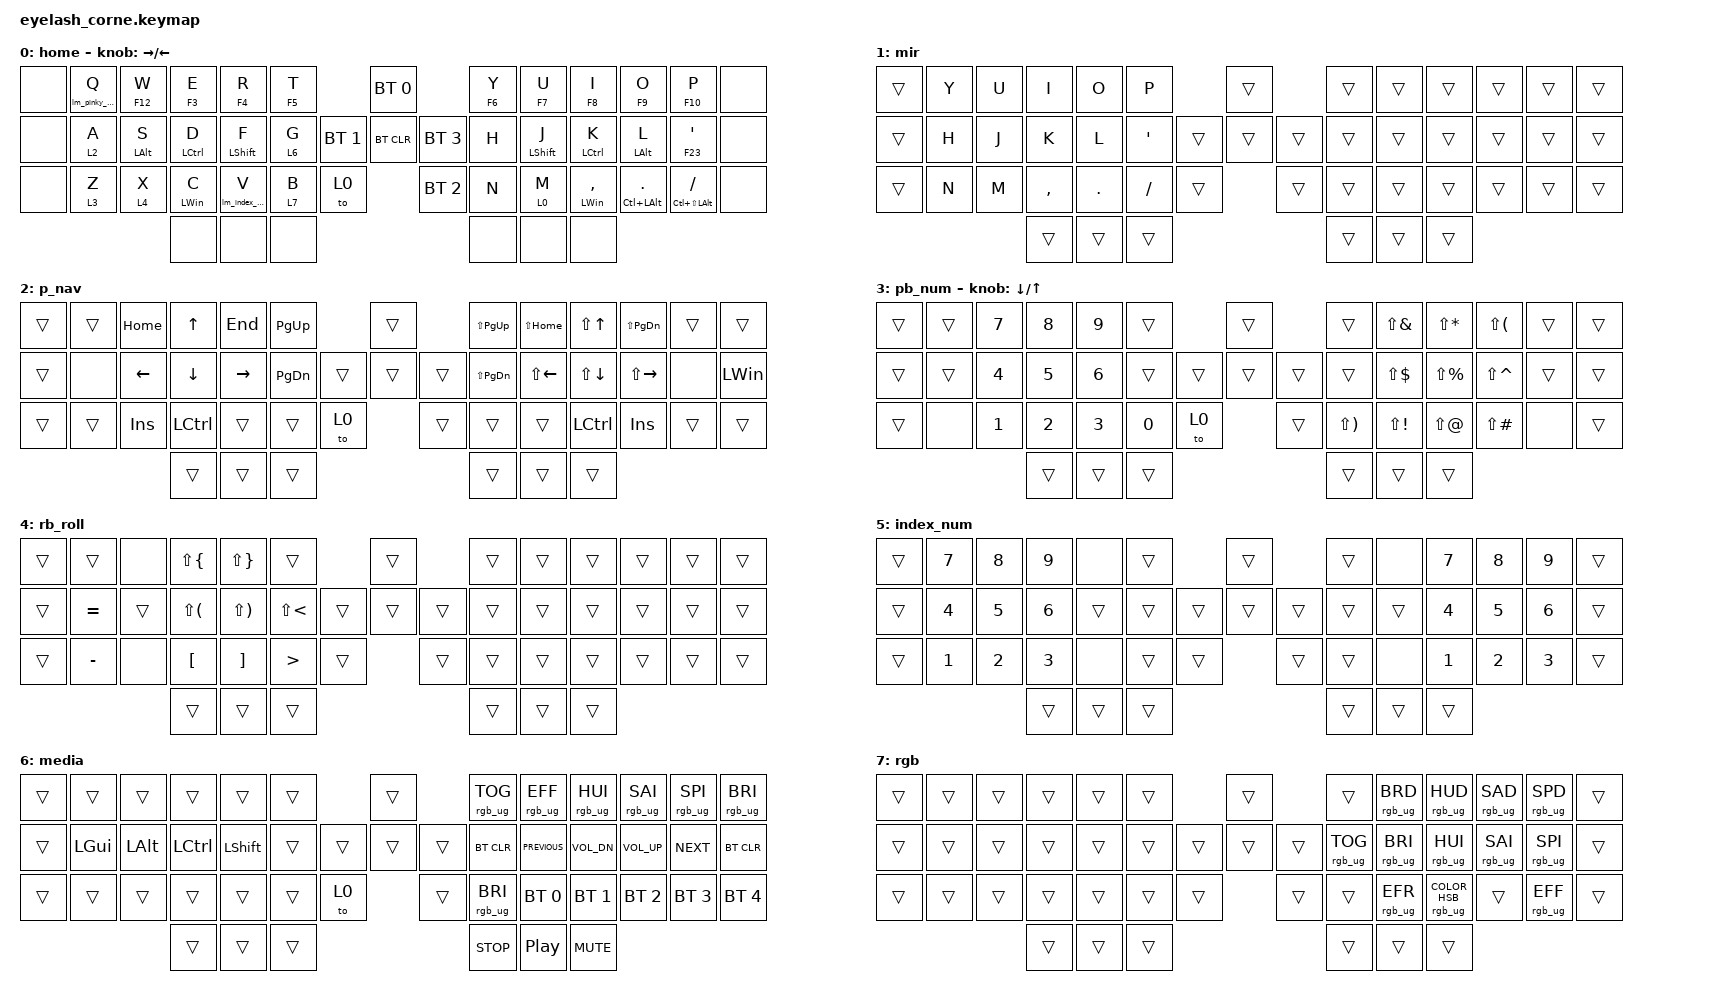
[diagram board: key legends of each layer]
#define ZMK_POINTING_DEFAULT_MOVE_VAL 1200  // 600
#define ZMK_POINTING_DEFAULT_SCRL_VAL 25   // 10

#include <input/processors.dtsi>
#include <zephyr/dt-bindings/input/input-event-codes.h>
#include <behaviors.dtsi>
#include <dt-bindings/zmk/bt.h>
#include <dt-bindings/zmk/keys.h>
#include <dt-bindings/zmk/pointing.h>
#include <dt-bindings/zmk/rgb.h>

&mmv_input_listener { input-processors = <&zip_xy_scaler 2 1>; };

&msc_input_listener { input-processors = <&zip_scroll_scaler 2 1>; };

&msc {
    acceleration-exponent = <1>;      // 0
    time-to-max-speed-ms = <100>;       // 300
    delay-ms = <0>;                   // 0
};

&mmv {
    time-to-max-speed-ms = <500>;
    acceleration-exponent = <1>;
    trigger-period-ms = <16>;
};

&lt { quick-tap-ms = <150>; };

&mt {
    flavor = "tap-preferred";
    require-prior-idle-ms = <125>;
};

&sk { lazy; };

/ {
    macros {
        // Layer 2 + LGUI 宏

        lm_pinky_nav_lgui: lm_2_lgui {
            compatible = "zmk,behavior-macro";
            wait-ms = <0>;
            tap-ms = <0>;
            #binding-cells = <0>;
            bindings =
                <&macro_press>,
                <&mo 2 &kp LGUI>,
                <&macro_pause_for_release>,
                <&macro_release>,
                <&mo 2 &kp LGUI>;
        };

        lm_index_num_lgui: lm_index_num_lgui {
            compatible = "zmk,behavior-macro";
            wait-ms = <0>;
            tap-ms = <0>;
            #binding-cells = <0>;
            bindings =
                <&macro_press>,
                <&mo 5 &kp LGUI>,
                <&macro_pause_for_release>,
                <&macro_release>,
                <&mo 5 &kp LGUI>;

            label = "LM_INDEX_NUM_LGUI";
        };
    };

    behaviors {
        lm_ht_pinky_lgui: lm_ht_pinky_lgui {
            compatible = "zmk,behavior-hold-tap";
            label = "LM_HT_PINKY_LGUI";
            #binding-cells = <2>;
            flavor = "balanced";
            tapping-term-ms = <200>;
            bindings = <&lm_pinky_nav_lgui>, <&kp>;
        };

        kt_off: key_toggle_off_only {
            compatible = "zmk,behavior-key-toggle";
            #binding-cells = <1>;
            label = "KEY_TOGGLE_OFF_ONLY";
            toggle-mode = "off";
        };

        hml: homerow_mods_left {
            compatible = "zmk,behavior-hold-tap";
            bindings = <&kp>, <&kp>;

            #binding-cells = <2>;
            tapping-term-ms = <150>;
            require-prior-idle-ms = <105>;
            flavor = "balanced";
            hold-trigger-key-positions = <23 24 25 26 7 22 36 45 46 47 37 38 39 40 41 8 9 10 11 12 23 24 25 26 27 42 43 44>;
            hold-trigger-on-release;
            quick-tap-ms = <175>;
            label = "homerow mods left from urob";
        };

        hmr: homerow_mods_right {
            compatible = "zmk,behavior-hold-tap";
            bindings = <&kp>, <&kp>;

            #binding-cells = <2>;
            tapping-term-ms = <150>;
            require-prior-idle-ms = <105>;
            flavor = "balanced";
            hold-trigger-on-release;
            quick-tap-ms = <175>;
            label = "homerow mods right from urob";
            hold-trigger-key-positions = <47 46 45 44 43 42 33 0 1 2 3 4 5 13 14 15 16 17 18 28 29 30 31 32 33 42 43 44>;
        };

        dwim: dwim {
            compatible = "zmk,behavior-leader-key";
            #binding-cells = <0>;

            f_key {
                sequence = <F>;
                bindings = <&to 7>;
            };

            number {
                sequence = <N>;
                bindings = <&to 5>;
            };

            quit {
                sequence = <Q>;
                bindings = <&to 0>;
            };

            sk_C {
                sequence = <D>;
                bindings = <&sk LCTRL>;
            };

            sk_M {
                sequence = <S>;
                bindings = <&sk LALT>;
            };

            sk_G {
                sequence = <V>;
                bindings = <&kt LWIN>;
            };

            sk_S {
                sequence = <F>;
                bindings = <&kt LSHIFT>;
            };

            kt_c {
                sequence = <T D>;
                bindings = <&kt LCTRL>;
            };

            kt_m {
                sequence = <T S>;
                bindings = <&kt LALT>;
            };

            kt_g {
                sequence = <T V>;
                bindings = <&kt LWIN>;
            };

            kt_s {
                sequence = <T F>;
                bindings = <&kt LSHIFT>;
            };
        };

        num_fkey: num_fkey {
            compatible = "zmk,behavior-hold-tap";
            label = "NUM_FKEY";
            bindings = <&kp>, <&kp>;

            #binding-cells = <2>;
            tapping-term-ms = <200>;
            flavor = "tap-preferred";
        };

        lm_ht_index_lgui: lm_ht_index_lgui {
            compatible = "zmk,behavior-hold-tap";
            label = "LM_HT_INDEX_LGUI";
            #binding-cells = <2>;
            flavor = "balanced";
            tapping-term-ms = <200>;
            bindings = <&lm_index_num_lgui>, <&kp>;
        };
    };

    rgb_encoder: rgb_encoder {
        compatible = "zmk,behavior-sensor-rotate";
        #sensor-binding-cells = <0>;
        bindings = <&rgb_ug RGB_BRI>, <&rgb_ug RGB_BRD>;
    };

    scroll_encoder: scroll_encoder {
        compatible = "zmk,behavior-sensor-rotate";
        #sensor-binding-cells = <0>;
        bindings = <&msc SCRL_DOWN>, <&msc SCRL_UP>;

        tap-ms = <30>;
    };

    combos {
        compatible = "zmk,combos";

        space {
            bindings = <&kp SPACE>;
            key-positions = <17 16>;
            require-prior-idle-ms = <30>;
        };

        tab {
            bindings = <&kp TAB>;
            key-positions = <15 16>;
            require-prior-idle-ms = <30>;
        };

        esc {
            bindings = <&kp ESCAPE>;
            key-positions = <14 15>;
            require-prior-idle-ms = <30>;
        };

        enter: enter {
            bindings = <&kp ENTER>;
            key-positions = <17 15 16>;
            require-prior-idle-ms = <30>;
        };

        bksp: bksp {
            bindings = <&kp BACKSPACE>;
            key-positions = <16 32>;
            require-prior-idle-ms = <30>;
        };

        del: del {
            bindings = <&kp DEL>;
            key-positions = <16 30>;
            require-prior-idle-ms = <30>;
        };

        key_repeat {
            bindings = <&key_repeat>;
            key-positions = <14 15 16>;
            require-prior-idle-ms = <30>;
        };

        n1_l {
            bindings = <&num_fkey F1 NUMBER_1>;
            key-positions = <31 32>;
            require-prior-idle-ms = <30>;
        };

        n2_l {
            bindings = <&num_fkey F2 NUMBER_2>;
            key-positions = <31 30>;
            require-prior-idle-ms = <30>;
        };

        n3_l {
            bindings = <&num_fkey F3 NUMBER_3>;
            key-positions = <30 29>;
            require-prior-idle-ms = <30>;
        };

        n4_l {
            bindings = <&num_fkey F4 NUMBER_4>;
            key-positions = <30 32>;
            require-prior-idle-ms = <30>;
        };

        n5_l {
            bindings = <&num_fkey F5 NUMBER_5>;
            key-positions = <29 31>;
            require-prior-idle-ms = <30>;
        };

        n6_l: n6_l {
            bindings = <&num_fkey F6 NUMBER_6>;
            key-positions = <3 2>;
            require-prior-idle-ms = <30>;
        };

        n7_l: n7_l {
            bindings = <&num_fkey F7 NUMBER_7>;
            key-positions = <2 1>;
            require-prior-idle-ms = <30>;
        };

        n8_l: n8_l {
            bindings = <&num_fkey F8 NUMBER_8>;
            key-positions = <2 4>;
            require-prior-idle-ms = <30>;
        };

        n9_l: n9_l {
            bindings = <&num_fkey F9 NUMBER_9>;
            key-positions = <1 3>;
            require-prior-idle-ms = <30>;
        };

        n0_l: n0_l {
            bindings = <&num_fkey F10 NUMBER_0>;
            key-positions = <3 4>;
            timeout-ms = <15>;
            require-prior-idle-ms = <30>;
        };

        f11 {
            bindings = <&kp F11>;
            key-positions = <4 3 2>;
            require-prior-idle-ms = <30>;
        };

        f12 {
            bindings = <&kp F12>;
            key-positions = <2 1 3>;
            require-prior-idle-ms = <30>;
        };

        colon {
            bindings = <&kp COLON>;
            key-positions = <23 24>;
            require-prior-idle-ms = <30>;
        };

        semi {
            bindings = <&kp SEMI>;
            key-positions = <25 24>;
            require-prior-idle-ms = <30>;
        };

        r1 {
            bindings = <&kp EXCLAMATION>;
            key-positions = <37 38>;
            require-prior-idle-ms = <30>;
        };

        r2 {
            bindings = <&kp AT_SIGN>;
            key-positions = <38 39>;
            require-prior-idle-ms = <30>;
        };

        r3 {
            bindings = <&kp HASH>;
            key-positions = <39 40>;
            require-prior-idle-ms = <30>;
        };

        r4 {
            bindings = <&kp DOLLAR>;
            key-positions = <37 39>;
            require-prior-idle-ms = <30>;
        };

        r5 {
            bindings = <&kp PERCENT>;
            key-positions = <40 38>;
            require-prior-idle-ms = <30>;
        };

        r6 {
            bindings = <&kp CARET>;
            key-positions = <9 10>;
            require-prior-idle-ms = <30>;
        };

        r7 {
            bindings = <&kp AMPERSAND>;
            key-positions = <10 11>;
            require-prior-idle-ms = <30>;
        };

        r8 {
            bindings = <&kp ASTERISK>;
            key-positions = <10 8>;
            timeout-ms = <15>;
            require-prior-idle-ms = <30>;
        };

        grave {
            bindings = <&kp GRAVE>;
            key-positions = <17 15>;
            require-prior-idle-ms = <30>;
        };

        quote {
            bindings = <&kp DOUBLE_QUOTES>;
            key-positions = <25 26>;
            require-prior-idle-ms = <30>;
        };

        less_than {
            bindings = <&kp LESS_THAN>;
            key-positions = <23 25>;
            require-prior-idle-ms = <30>;
        };

        greater_than {
            bindings = <&kp GREATER_THAN>;
            key-positions = <24 26>;
            require-prior-idle-ms = <30>;
        };

        pipe {
            bindings = <&kp PIPE>;
            key-positions = <23 26>;
            require-prior-idle-ms = <30>;
        };

        plus {
            bindings = <&kp PLUS>;
            key-positions = <24 37>;
            require-prior-idle-ms = <30>;
        };

        minor {
            bindings = <&kp MINUS>;
            key-positions = <24 39>;
            require-prior-idle-ms = <30>;
        };

        tilde {
            bindings = <&kp TILDE>;
            key-positions = <14 16>;
            require-prior-idle-ms = <30>;
        };

        f24 {
            bindings = <&kp F24>;
            key-positions = <14 17>;
            require-prior-idle-ms = <30>;
        };

        number {
            bindings = <&tog 3>;
            key-positions = <29 32>;
            require-prior-idle-ms = <30>;
        };

        mir {
            bindings = <&tog 1>;
            key-positions = <1 4>;
            require-prior-idle-ms = <30>;
        };

        backslash {
            bindings = <&kp BACKSLASH>;
            key-positions = <9 25>;
            require-prior-idle-ms = <30>;
        };

        equal {
            bindings = <&kp EQUAL>;
            key-positions = <25 38>;
            require-prior-idle-ms = <30>;
        };

        underscore {
            bindings = <&kp UNDERSCORE>;
            key-positions = <25 40>;
            require-prior-idle-ms = <30>;
        };

        reset {
            bindings = <&bootloader>;
            key-positions = <1 29>;
            require-prior-idle-ms = <30>;
        };

        ins {
            bindings = <&kp INSERT>;
            key-positions = <15 29>;
            require-prior-idle-ms = <30>;
        };

        kt_sft {
            bindings = <&kt LSHFT>;
            key-positions = <17 23>;
            require-prior-idle-ms = <30>;
        };

        dwim {
            bindings = <&dwim>;
            key-positions = <16 2>;
        };
    };

    keymap {
        compatible = "zmk,keymap";

        home {
            display-name = "home";
            bindings = <
&none  &lm_ht_pinky_lgui 0 Q  &hml F12 W   &hml F3 E     &hml F4 R              &hml F5 T                         &bt BT_SEL 0                &hml F6 Y  &hml F7 U     &hml F8 I        &hml F9 O              &hml F10 P                   &none
&none  &lt 2 A                &hml LALT S  &hml LCTRL D  &hml LSHFT F           &lt 6 G             &bt BT_SEL 1  &bt BT_CLR    &bt BT_SEL 3  &kp H      &hmr LSHFT J  &hmr LCTRL K     &hmr LALT L            &hmr F23 SQT                 &none
&none  &lt 3 Z                &lt 4 X      &hml LWIN C   &lm_ht_index_lgui 0 V  &lt 7 B    &to 0                  &bt BT_SEL 2                &kp N      &lt 0 M       &hmr LWIN COMMA  &hmr LC(LEFT_ALT) DOT  &hmr LC(LS(LEFT_ALT)) SLASH  &none
                                           &none         &none                  &none                                                         &none      &none         &none
            >;

            sensor-bindings = <&inc_dec_kp RIGHT LEFT>;
        };

        mir {
            bindings = <
&trans  &kp Y  &kp U  &kp I      &kp O       &kp P                        &trans          &trans  &trans  &trans  &trans  &trans  &trans
&trans  &kp H  &kp J  &kp K      &kp L       &kp SQT              &trans  &trans  &trans  &trans  &trans  &trans  &trans  &trans  &trans
&trans  &kp N  &kp M  &kp COMMA  &kp PERIOD  &kp SLASH  &trans            &trans          &trans  &trans  &trans  &trans  &trans  &trans
                      &trans     &trans      &trans                                       &trans  &trans  &trans
            >;

            label = "mir";
        };

        pinky_nav {
            bindings = <
&trans  &trans  &kp HOME  &kp UP     &kp END    &kp PG_UP                   &trans          &kp LS(PG_UP)  &kp LS(HOME)  &kp LS(UP)    &kp LS(PAGE_DOWN)  &trans  &trans
&trans  &none   &kp LEFT  &kp DOWN   &kp RIGHT  &kp PG_DN           &trans  &trans  &trans  &kp LS(PG_DN)  &kp LS(LEFT)  &kp LS(DOWN)  &kp LS(RIGHT)      &none   &kp LWIN
&trans  &trans  &kp INS   &kp LCTRL  &trans     &trans     &to 0            &trans          &trans         &trans        &kp LCTRL     &kp INS            &trans  &trans
                          &trans     &trans     &trans                                      &trans         &trans        &trans
            >;

            label = "p_nav";
        };

        pinky_num {
            bindings = <
&trans  &trans  &kp N7  &kp N8  &kp N9  &trans                   &trans          &trans        &kp LS(AMPS)  &kp LS(STAR)   &kp LS(LPAR)   &trans  &trans
&trans  &trans  &kp N4  &kp N5  &kp N6  &trans           &trans  &trans  &trans  &trans        &kp LS(DLLR)  &kp LS(PRCNT)  &kp LS(CARET)  &trans  &trans
&trans  &none   &kp N1  &kp N2  &kp N3  &kp N0  &to 0            &trans          &kp LS(RPAR)  &kp LS(EXCL)  &kp LS(AT)     &kp LS(POUND)  &none   &trans
                        &trans  &trans  &trans                                   &trans        &trans        &trans
            >;

            label = "pb_num";
            sensor-bindings = <&inc_dec_kp DOWN UP_ARROW>;
        };

        ring_rolling {
            bindings = <
&trans  &trans     &none   &kp LS(LBRC)  &kp LS(RBRC)  &trans                               &trans          &trans  &trans  &trans  &trans  &trans  &trans
&trans  &kp EQUAL  &trans  &kp LS(LPAR)  &kp LS(RPAR)  &kp LS(LESS_THAN)            &trans  &trans  &trans  &trans  &trans  &trans  &trans  &trans  &trans
&trans  &kp MINUS  &none   &kp LBKT      &kp RBKT      &kp GT             &trans            &trans          &trans  &trans  &trans  &trans  &trans  &trans
                           &trans        &trans        &trans                                               &trans  &trans  &trans
            >;

            label = "rb_roll";
        };

        index_num {
            bindings = <
&trans  &kp N7  &kp N8  &kp N9  &none   &trans                    &trans          &trans  &none   &kp N7  &kp N8  &kp N9  &trans
&trans  &kp N4  &kp N5  &kp N6  &trans  &trans            &trans  &trans  &trans  &trans  &trans  &kp N4  &kp N5  &kp N6  &trans
&trans  &kp N1  &kp N2  &kp N3  &none   &trans  &trans            &trans          &trans  &none   &kp N1  &kp N2  &kp N3  &trans
                        &trans  &trans  &trans                                    &trans  &trans  &trans
            >;
        };

        med {
            bindings = <
&trans  &trans    &trans    &trans     &trans     &trans                   &trans          &rgb_ug RGB_TOG  &rgb_ug RGB_EFF   &rgb_ug RGB_HUI  &rgb_ug RGB_SAI  &rgb_ug RGB_SPI  &rgb_ug RGB_BRI
&trans  &kp LGUI  &kp LALT  &kp LCTRL  &kp LSHFT  &trans           &trans  &trans  &trans  &bt BT_CLR       &kp C_PREVIOUS    &kp C_VOL_DN     &kp C_VOL_UP     &kp C_NEXT       &bt BT_CLR
&trans  &trans    &trans    &trans     &trans     &trans  &to 0            &trans          &rgb_ug RGB_BRI  &bt BT_SEL 0      &bt BT_SEL 1     &bt BT_SEL 2     &bt BT_SEL 3     &bt BT_SEL 4
                            &trans     &trans     &trans                                   &kp C_STOP       &kp C_PLAY_PAUSE  &kp C_MUTE
            >;

            label = "media";
        };

        rgb {
            bindings = <
&trans  &trans  &trans  &trans  &trans  &trans                    &trans          &trans           &rgb_ug RGB_BRD  &rgb_ug RGB_HUD                 &rgb_ug RGB_SAD  &rgb_ug RGB_SPD  &trans
&trans  &trans  &trans  &trans  &trans  &trans            &trans  &trans  &trans  &rgb_ug RGB_TOG  &rgb_ug RGB_BRI  &rgb_ug RGB_HUI                 &rgb_ug RGB_SAI  &rgb_ug RGB_SPI  &trans
&trans  &trans  &trans  &trans  &trans  &trans  &trans            &trans          &trans           &rgb_ug RGB_EFR  &rgb_ug RGB_COLOR_HSB(0,0,100)  &trans           &rgb_ug RGB_EFF  &trans
                        &trans  &trans  &trans                                    &trans           &trans           &trans
            >;

            label = "rgb";
        };
    };

    conditional_layers { compatible = "zmk,conditional-layers"; };
};
